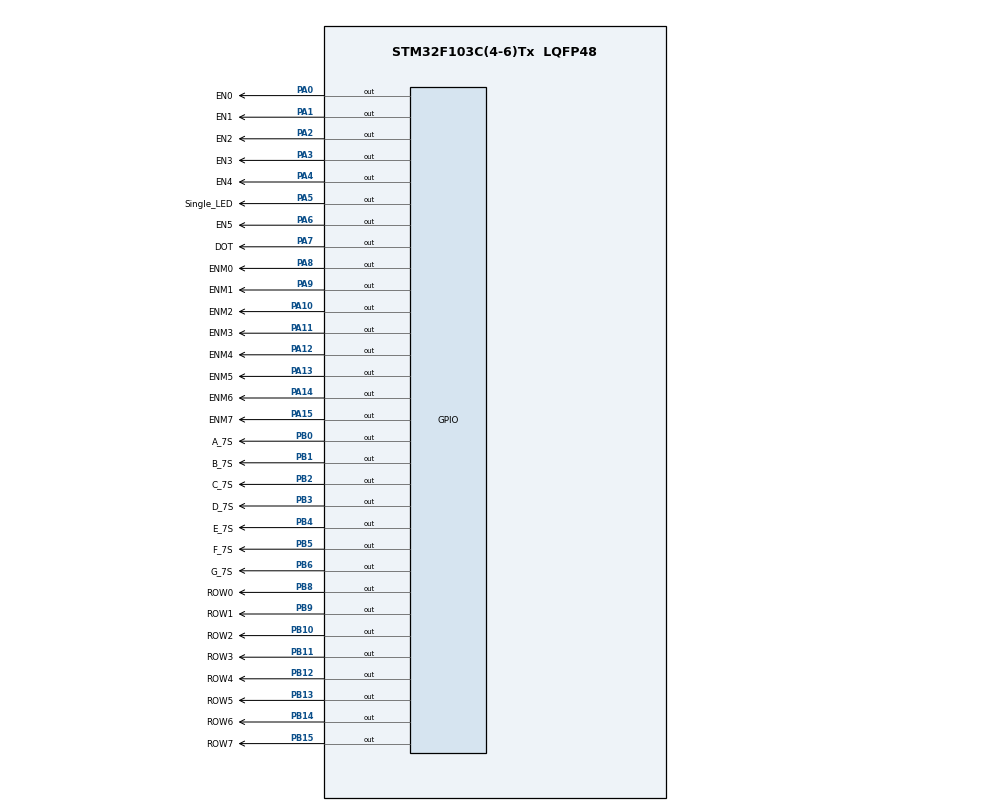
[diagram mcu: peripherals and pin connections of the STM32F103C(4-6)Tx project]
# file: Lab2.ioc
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Mcu.Family=STM32F1
Mcu.Name=STM32F103C(4-6)Tx
Mcu.Package=LQFP48
NVIC.PriorityGroup=NVIC_PRIORITYGROUP_4
NVIC.TIM2_IRQn=true\:0\:0\:false\:false\:true\:true\:true\:true
PA0-WKUP.GPIO_Label=EN0
PA0-WKUP.Signal=GPIO_Output
PA1.GPIO_Label=EN1
PA1.Signal=GPIO_Output
PA10.GPIO_Label=ENM2
PA10.Signal=GPIO_Output
PA11.GPIO_Label=ENM3
PA11.Signal=GPIO_Output
PA12.GPIO_Label=ENM4
PA12.Signal=GPIO_Output
PA13.GPIO_Label=ENM5
PA13.Signal=GPIO_Output
PA14.GPIO_Label=ENM6
PA14.Signal=GPIO_Output
PA15.GPIO_Label=ENM7
PA15.Signal=GPIO_Output
PA2.GPIO_Label=EN2
PA2.Signal=GPIO_Output
PA3.GPIO_Label=EN3
PA3.Signal=GPIO_Output
PA4.GPIO_Label=EN4
PA4.Signal=GPIO_Output
PA5.GPIO_Label=Single_LED
PA5.Signal=GPIO_Output
PA6.GPIO_Label=EN5
PA6.Signal=GPIO_Output
PA7.GPIO_Label=DOT
PA7.Signal=GPIO_Output
PA8.GPIO_Label=ENM0
PA8.Signal=GPIO_Output
PA9.GPIO_Label=ENM1
PA9.Signal=GPIO_Output
PB0.GPIO_Label=A_7S
PB0.Signal=GPIO_Output
PB1.GPIO_Label=B_7S
PB1.Signal=GPIO_Output
PB10.GPIO_Label=ROW2
PB10.Signal=GPIO_Output
PB11.GPIO_Label=ROW3
PB11.Signal=GPIO_Output
PB12.GPIO_Label=ROW4
PB12.Signal=GPIO_Output
PB13.GPIO_Label=ROW5
PB13.Signal=GPIO_Output
PB14.GPIO_Label=ROW6
PB14.Signal=GPIO_Output
PB15.GPIO_Label=ROW7
PB15.Signal=GPIO_Output
PB2.GPIO_Label=C_7S
PB2.Signal=GPIO_Output
PB3.GPIO_Label=D_7S
PB3.Signal=GPIO_Output
PB4.GPIO_Label=E_7S
PB4.Signal=GPIO_Output
PB5.GPIO_Label=F_7S
PB5.Signal=GPIO_Output
PB6.GPIO_Label=G_7S
PB6.Signal=GPIO_Output
PB8.GPIO_Label=ROW0
PB8.Signal=GPIO_Output
PB9.GPIO_Label=ROW1
PB9.Signal=GPIO_Output
ProjectManager.HeapSize=0x200
ProjectManager.StackSize=0x400
ProjectManager.TargetToolchain=STM32CubeIDE
RCC.APB1Freq_Value=8000000
RCC.APB2Freq_Value=8000000
TIM2.Period=9
TIM2.Prescaler=7999
VP_TIM2_VS_ClockSourceINT.Mode=Internal
board=custom

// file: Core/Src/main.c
/* USER CODE BEGIN Header */
/**
  ******************************************************************************
  * @file           : main.c
  * @brief          : Main program body
  ******************************************************************************
  * @attention
  *
  * Copyright (c) 2023 STMicroelectronics.
  * All rights reserved.
  *
  * This software is licensed under terms that can be found in the LICENSE file
  * in the root directory of this software component.
  * If no LICENSE file comes with this software, it is provided AS-IS.
  *
  ******************************************************************************
  */
/* USER CODE END Header */
#include "main.h"

/* USER CODE BEGIN Includes */
#include "global.h"
/* USER CODE END Includes */

TIM_HandleTypeDef htim2;

/* USER CODE BEGIN PV */
uint8_t hour = 15, minute = 8, second = 50;

/* USER CODE END PV */

void SystemClock_Config(void);
static void MX_GPIO_Init(void);
static void MX_TIM2_Init(void);
/* USER CODE BEGIN PFP */
void HAL_TIM_PeriodElapsedCallback(TIM_HandleTypeDef *htim);
void updateClockBuffer(void);
/* USER CODE END PFP */

int main(void)
{

  /* MCU Configuration--------------------------------------------------------*/

  /* Reset of all peripherals, Initializes the Flash interface and the Systick. */
  HAL_Init();

  /* Configure the system clock */
  SystemClock_Config();

  /* Initialize all configured peripherals */
  MX_GPIO_Init();
  MX_TIM2_Init();
  /* USER CODE BEGIN 2 */
  led_Display_Init();

  setTimer(SCANNING_TIMER, DUR_SCANNING);
  setTimer(UPDATING_TIMER, DUR_UPDATING);
  setTimer(SHIFTING_TIMER, DUR_SHIFTING);

  HAL_TIM_Base_Start_IT(&htim2);

  /* USER CODE END 2 */

  /* Infinite loop */
  /* USER CODE BEGIN WHILE */

  while (1)
  {
	  if (getFlagTimer(SCANNING_TIMER)){
		  setTimer(SCANNING_TIMER, DUR_SCANNING);
		  scanning7SEG();
		  scanningMLED();
	  }
	  if (getFlagTimer(SHIFTING_TIMER)){
		  setTimer(SHIFTING_TIMER, DUR_SHIFTING);
		  shiftingLeftBuffer();
	  }
	  if (getFlagTimer(UPDATING_TIMER)){
		  setTimer(UPDATING_TIMER, DUR_UPDATING);
		  //Because UPDATING_TIMER frequent at 1HZ.
		  //So I merge blink dot every one second into this section.
		  //More optimize our timer. Got more time run in while.
		  HAL_GPIO_TogglePin(DOT_GPIO_Port, DOT_Pin);

		  second++;
		  if (second >= 60){
			  second = 0;
			  minute++;
		  }
		  if(minute >= 60){
			  minute = 0;
			  hour++;
		  }
		  if(hour >= 24){
			  hour = 0;
		  }
		  updateClockBuffer();
	  }

    /* USER CODE END WHILE */

  }
}

void SystemClock_Config(void)
{
  RCC_OscInitTypeDef RCC_OscInitStruct = {0};
  RCC_ClkInitTypeDef RCC_ClkInitStruct = {0};

  /** Initializes the RCC Oscillators according to the specified parameters
  * in the RCC_OscInitTypeDef structure.
  */
  RCC_OscInitStruct.OscillatorType = RCC_OSCILLATORTYPE_HSI;
  RCC_OscInitStruct.HSIState = RCC_HSI_ON;
  RCC_OscInitStruct.HSICalibrationValue = RCC_HSICALIBRATION_DEFAULT;
  RCC_OscInitStruct.PLL.PLLState = RCC_PLL_NONE;
  if (HAL_RCC_OscConfig(&RCC_OscInitStruct) != HAL_OK)
  {
    Error_Handler();
  }

  /** Initializes the CPU, AHB and APB buses clocks
  */
  RCC_ClkInitStruct.ClockType = RCC_CLOCKTYPE_HCLK|RCC_CLOCKTYPE_SYSCLK
                              |RCC_CLOCKTYPE_PCLK1|RCC_CLOCKTYPE_PCLK2;
  RCC_ClkInitStruct.SYSCLKSource = RCC_SYSCLKSOURCE_HSI;
  RCC_ClkInitStruct.AHBCLKDivider = RCC_SYSCLK_DIV1;
  RCC_ClkInitStruct.APB1CLKDivider = RCC_HCLK_DIV1;
  RCC_ClkInitStruct.APB2CLKDivider = RCC_HCLK_DIV1;

  if (HAL_RCC_ClockConfig(&RCC_ClkInitStruct, FLASH_LATENCY_0) != HAL_OK)
  {
    Error_Handler();
  }
}

static void MX_TIM2_Init(void)
{

  TIM_ClockConfigTypeDef sClockSourceConfig = {0};
  TIM_MasterConfigTypeDef sMasterConfig = {0};

  htim2.Instance = TIM2;
  htim2.Init.Prescaler = 7999;
  htim2.Init.CounterMode = TIM_COUNTERMODE_UP;
  htim2.Init.Period = 9;
  htim2.Init.ClockDivision = TIM_CLOCKDIVISION_DIV1;
  htim2.Init.AutoReloadPreload = TIM_AUTORELOAD_PRELOAD_DISABLE;
  if (HAL_TIM_Base_Init(&htim2) != HAL_OK)
  {
    Error_Handler();
  }
  sClockSourceConfig.ClockSource = TIM_CLOCKSOURCE_INTERNAL;
  if (HAL_TIM_ConfigClockSource(&htim2, &sClockSourceConfig) != HAL_OK)
  {
    Error_Handler();
  }
  sMasterConfig.MasterOutputTrigger = TIM_TRGO_RESET;
  sMasterConfig.MasterSlaveMode = TIM_MASTERSLAVEMODE_DISABLE;
  if (HAL_TIMEx_MasterConfigSynchronization(&htim2, &sMasterConfig) != HAL_OK)
  {
    Error_Handler();
  }

}

static void MX_GPIO_Init(void)
{
  GPIO_InitTypeDef GPIO_InitStruct = {0};

  /* GPIO Ports Clock Enable */
  __HAL_RCC_GPIOA_CLK_ENABLE();
  __HAL_RCC_GPIOB_CLK_ENABLE();

  /*Configure GPIO pin Output Level */
  HAL_GPIO_WritePin(GPIOA, EN0_Pin|EN1_Pin|EN2_Pin|EN3_Pin
                          |EN4_Pin|Single_LED_Pin|EN5_Pin|DOT_Pin
                          |ENM0_Pin|ENM1_Pin|ENM2_Pin|ENM3_Pin
                          |ENM4_Pin|ENM5_Pin|ENM6_Pin|ENM7_Pin, GPIO_PIN_RESET);

  /*Configure GPIO pin Output Level */
  HAL_GPIO_WritePin(GPIOB, A_7S_Pin|B_7S_Pin|C_7S_Pin|ROW2_Pin
                          |ROW3_Pin|ROW4_Pin|ROW5_Pin|ROW6_Pin
                          |ROW7_Pin|D_7S_Pin|E_7S_Pin|F_7S_Pin
                          |G_7S_Pin|ROW0_Pin|ROW1_Pin, GPIO_PIN_RESET);

  /*Configure GPIO pins : EN0_Pin EN1_Pin EN2_Pin EN3_Pin
                           EN4_Pin Single_LED_Pin EN5_Pin DOT_Pin
                           ENM0_Pin ENM1_Pin ENM2_Pin ENM3_Pin
                           ENM4_Pin ENM5_Pin ENM6_Pin ENM7_Pin */
  GPIO_InitStruct.Pin = EN0_Pin|EN1_Pin|EN2_Pin|EN3_Pin
                          |EN4_Pin|Single_LED_Pin|EN5_Pin|DOT_Pin
                          |ENM0_Pin|ENM1_Pin|ENM2_Pin|ENM3_Pin
                          |ENM4_Pin|ENM5_Pin|ENM6_Pin|ENM7_Pin;
  GPIO_InitStruct.Mode = GPIO_MODE_OUTPUT_PP;
  GPIO_InitStruct.Pull = GPIO_NOPULL;
  GPIO_InitStruct.Speed = GPIO_SPEED_FREQ_LOW;
  HAL_GPIO_Init(GPIOA, &GPIO_InitStruct);

  /*Configure GPIO pins : A_7S_Pin B_7S_Pin C_7S_Pin ROW2_Pin
                           ROW3_Pin ROW4_Pin ROW5_Pin ROW6_Pin
                           ROW7_Pin D_7S_Pin E_7S_Pin F_7S_Pin
                           G_7S_Pin ROW0_Pin ROW1_Pin */
  GPIO_InitStruct.Pin = A_7S_Pin|B_7S_Pin|C_7S_Pin|ROW2_Pin
                          |ROW3_Pin|ROW4_Pin|ROW5_Pin|ROW6_Pin
                          |ROW7_Pin|D_7S_Pin|E_7S_Pin|F_7S_Pin
                          |G_7S_Pin|ROW0_Pin|ROW1_Pin;
  GPIO_InitStruct.Mode = GPIO_MODE_OUTPUT_PP;
  GPIO_InitStruct.Pull = GPIO_NOPULL;
  GPIO_InitStruct.Speed = GPIO_SPEED_FREQ_LOW;
  HAL_GPIO_Init(GPIOB, &GPIO_InitStruct);

}

/* USER CODE BEGIN 4 */
void HAL_TIM_PeriodElapsedCallback(TIM_HandleTypeDef *htim)
{
	timerRun();
}
void updateClockBuffer(void){
	buffer_7SEG[0] = hour / 10;
	buffer_7SEG[1] = hour % 10;
	buffer_7SEG[2] = minute / 10;
	buffer_7SEG[3] = minute % 10;
	buffer_7SEG[4] = second / 10;
	buffer_7SEG[5] = second % 10;
}
/* USER CODE END 4 */

void Error_Handler(void)
{
  __disable_irq();
  while (1)
  {
  }
}
